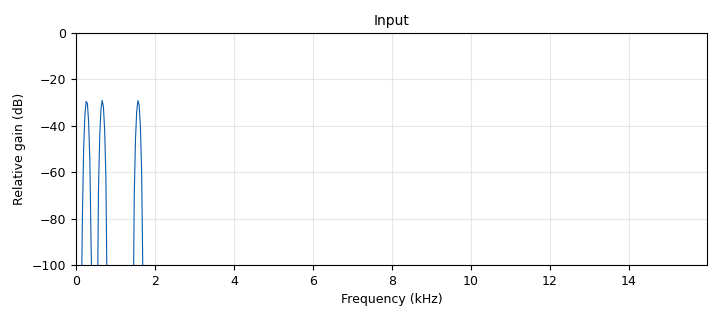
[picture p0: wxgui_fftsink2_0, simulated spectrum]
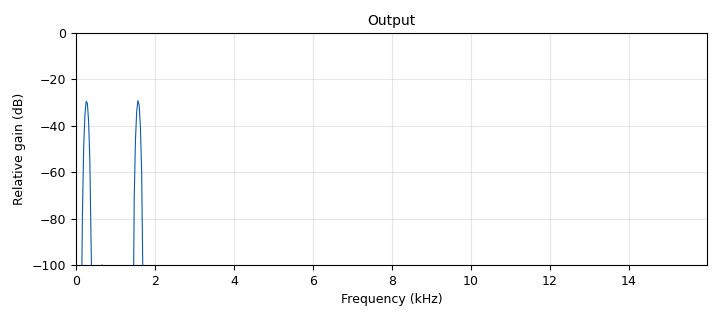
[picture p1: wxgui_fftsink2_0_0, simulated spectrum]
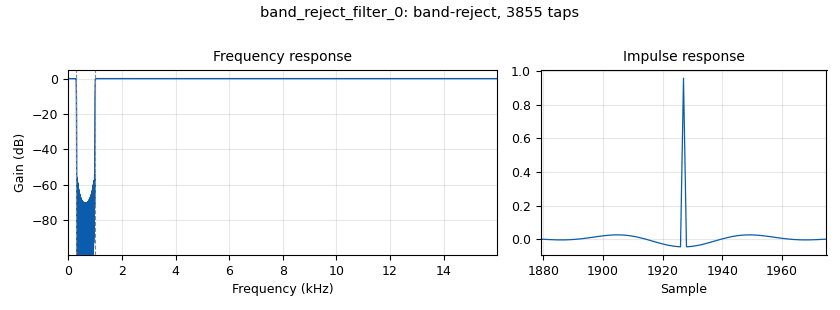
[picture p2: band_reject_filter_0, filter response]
<?xml version='1.0' encoding='utf-8'?>
<?grc format='1' created='3.7.7'?>
<flow_graph>
<block>
<key>options</key>
<param><key>id</key><value>top_block</value></param>
<param><key>generate_options</key><value>wx_gui</value></param>
<param><key>category</key><value>Custom</value></param>
</block>
<block>
<key>variable</key>
<param><key>id</key><value>samp_rate</value></param>
<param><key>value</key><value>32000</value></param>
</block>
<block>
<key>wxgui_fftsink2</key>
<param><key>id</key><value>wxgui_fftsink2_0</value></param>
<param><key>type</key><value>float</value></param>
<param><key>title</key><value>Input</value></param>
<param><key>samp_rate</key><value>samp_rate</value></param>
<param><key>baseband_freq</key><value>0</value></param>
<param><key>y_per_div</key><value>10</value></param>
<param><key>y_divs</key><value>10</value></param>
<param><key>ref_level</key><value>0</value></param>
<param><key>ref_scale</key><value>2.0</value></param>
<param><key>fft_size</key><value>1024</value></param>
<param><key>fft_rate</key><value>15</value></param>
<param><key>peak_hold</key><value>False</value></param>
<param><key>average</key><value>False</value></param>
<param><key>avg_alpha</key><value>0</value></param>
<param><key>win</key><value>None</value></param>
<param><key>freqvar</key><value>None</value></param>
</block>
<block>
<key>analog_sig_source_x</key>
<param><key>id</key><value>analog_sig_source_x_0</value></param>
<param><key>type</key><value>float</value></param>
<param><key>samp_rate</key><value>samp_rate</value></param>
<param><key>waveform</key><value>analog.GR_COS_WAVE</value></param>
<param><key>freq</key><value>261.6</value></param>
<param><key>amp</key><value>0.1</value></param>
<param><key>offset</key><value>0</value></param>
</block>
<block>
<key>analog_sig_source_x</key>
<param><key>id</key><value>analog_sig_source_x_0_1</value></param>
<param><key>type</key><value>float</value></param>
<param><key>samp_rate</key><value>samp_rate</value></param>
<param><key>waveform</key><value>analog.GR_COS_WAVE</value></param>
<param><key>freq</key><value>659.2</value></param>
<param><key>amp</key><value>0.1</value></param>
<param><key>offset</key><value>0</value></param>
</block>
<block>
<key>analog_sig_source_x</key>
<param><key>id</key><value>analog_sig_source_x_0_0</value></param>
<param><key>type</key><value>float</value></param>
<param><key>samp_rate</key><value>samp_rate</value></param>
<param><key>waveform</key><value>analog.GR_COS_WAVE</value></param>
<param><key>freq</key><value>1568</value></param>
<param><key>amp</key><value>0.1</value></param>
<param><key>offset</key><value>0</value></param>
</block>
<block>
<key>variable_text_box</key>
<param><key>id</key><value>transition_width</value></param>
<param><key>label</key><value></value></param>
<param><key>value</key><value>20</value></param>
<param><key>converver</key><value>float_converter</value></param>
<param><key>formatter</key><value>None</value></param>
</block>
<block>
<key>blocks_add_xx</key>
<param><key>id</key><value>blocks_add_xx_0</value></param>
<param><key>type</key><value>float</value></param>
<param><key>num_inputs</key><value>3</value></param>
</block>
<block>
<key>audio_sink</key>
<param><key>id</key><value>audio_sink_0</value></param>
<param><key>samp_rate</key><value>samp_rate</value></param>
</block>
<block>
<key>band_reject_filter</key>
<param><key>id</key><value>band_reject_filter_0</value></param>
<param><key>type</key><value>fir_filter_fff</value></param>
<param><key>decim</key><value>1</value></param>
<param><key>gain</key><value>1</value></param>
<param><key>samp_rate</key><value>samp_rate</value></param>
<param><key>low_cutoff_freq</key><value>low_cutoff</value></param>
<param><key>high_cutoff_freq</key><value>high_cutoff</value></param>
<param><key>width</key><value>transition_width</value></param>
<param><key>win</key><value>firdes.WIN_HAMMING</value></param>
</block>
<block>
<key>wxgui_fftsink2</key>
<param><key>id</key><value>wxgui_fftsink2_0_0</value></param>
<param><key>type</key><value>float</value></param>
<param><key>title</key><value>Output</value></param>
<param><key>samp_rate</key><value>samp_rate</value></param>
<param><key>baseband_freq</key><value>0</value></param>
<param><key>y_per_div</key><value>10</value></param>
<param><key>y_divs</key><value>10</value></param>
<param><key>ref_level</key><value>0</value></param>
<param><key>ref_scale</key><value>2.0</value></param>
<param><key>fft_size</key><value>1024</value></param>
<param><key>fft_rate</key><value>15</value></param>
<param><key>peak_hold</key><value>False</value></param>
<param><key>average</key><value>False</value></param>
<param><key>avg_alpha</key><value>0</value></param>
<param><key>win</key><value>None</value></param>
<param><key>freqvar</key><value>None</value></param>
</block>
<block>
<key>variable_text_box</key>
<param><key>id</key><value>low_cutoff</value></param>
<param><key>label</key><value></value></param>
<param><key>value</key><value>300</value></param>
<param><key>converver</key><value>float_converter</value></param>
<param><key>formatter</key><value>None</value></param>
</block>
<block>
<key>variable_text_box</key>
<param><key>id</key><value>high_cutoff</value></param>
<param><key>label</key><value></value></param>
<param><key>value</key><value>1e3</value></param>
<param><key>converver</key><value>float_converter</value></param>
<param><key>formatter</key><value>None</value></param>
</block>
<block>
<key>note</key>
<param><key>id</key><value>note_0_0</value></param>
<param><key>note</key><value>t_width already set</value></param>
</block>
<block>
<key>note</key>
<param><key>id</key><value>note_0</value></param>
<param><key>note</key><value>cutoff vals already set</value></param>
</block>
<connection><source_block_id>analog_sig_source_x_0_0</source_block_id><sink_block_id>blocks_add_xx_0</sink_block_id><source_key>0</source_key><sink_key>2</sink_key></connection>
<connection><source_block_id>analog_sig_source_x_0_1</source_block_id><sink_block_id>blocks_add_xx_0</sink_block_id><source_key>0</source_key><sink_key>1</sink_key></connection>
<connection><source_block_id>analog_sig_source_x_0</source_block_id><sink_block_id>blocks_add_xx_0</sink_block_id><source_key>0</source_key><sink_key>0</sink_key></connection>
<connection><source_block_id>blocks_add_xx_0</source_block_id><sink_block_id>wxgui_fftsink2_0</sink_block_id><source_key>0</source_key><sink_key>0</sink_key></connection>
<connection><source_block_id>blocks_add_xx_0</source_block_id><sink_block_id>band_reject_filter_0</sink_block_id><source_key>0</source_key><sink_key>0</sink_key></connection>
<connection><source_block_id>band_reject_filter_0</source_block_id><sink_block_id>audio_sink_0</sink_block_id><source_key>0</source_key><sink_key>0</sink_key></connection>
<connection><source_block_id>band_reject_filter_0</source_block_id><sink_block_id>wxgui_fftsink2_0_0</sink_block_id><source_key>0</source_key><sink_key>0</sink_key></connection>
</flow_graph>
